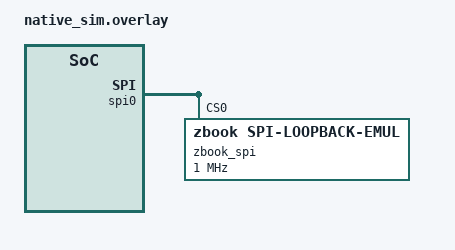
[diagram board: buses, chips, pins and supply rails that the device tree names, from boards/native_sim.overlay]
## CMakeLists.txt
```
cmake_minimum_required(VERSION 3.20.0)
include(${CMAKE_CURRENT_SOURCE_DIR}/../../unit.cmake)
zbook_unit_test(spi)

target_sources(app PRIVATE ${CMAKE_CURRENT_SOURCE_DIR}/src/zbook_spi_loopback_emul.c)
```

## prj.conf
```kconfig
CONFIG_ZTEST=y
CONFIG_ZBOOK_SPI=y
```

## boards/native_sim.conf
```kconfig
CONFIG_EMUL=y
CONFIG_SPI=y
```

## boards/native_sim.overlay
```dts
&spi0 {
	zbook_spi: zbook_spi@0 {
		compatible = "zbook,spi-loopback-emul";
		reg = <0>;
		spi-max-frequency = <1000000>;
	};
};
```

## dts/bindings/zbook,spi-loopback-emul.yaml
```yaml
description: ZBook SPI loopback emulator (unit test only)

compatible: "zbook,spi-loopback-emul"

include: spi-device.yaml
```

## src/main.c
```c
#include <zephyr/ztest.h>
#include <zephyr/drivers/spi.h>
#include <zephyr/sys/util.h>

#include "protocols/zbook_spi.h"
#include "zbook_spi_loopback_emul.h"

ZTEST_SUITE(zbook_spi, NULL, NULL, NULL, NULL, NULL);

ZTEST(zbook_spi, test_00_not_ready_before_init)
{
	uint8_t byte = 0;

	zassert_equal(-ENODEV, zbook_spi_read(&byte, 1));
}

ZTEST(zbook_spi, test_00a_configure_before_init)
{
	struct zbook_spi_cfg cfg = {.frequency = 1000000, .word_size = 8};

	zassert_equal(-ENODEV, zbook_spi_configure(&cfg));
}

ZTEST(zbook_spi, test_01_init_ok)
{
	zassert_ok(zbook_spi_init());
}

ZTEST(zbook_spi, test_configure_invalid_args)
{
	struct zbook_spi_cfg cfg = {.frequency = 1000000, .word_size = 8};

	zassert_equal(-EINVAL, zbook_spi_configure(NULL));

	cfg.word_size = 0;
	zassert_equal(-EINVAL, zbook_spi_configure(&cfg));

	cfg.word_size = 64;
	zassert_equal(-EINVAL, zbook_spi_configure(&cfg));

	cfg.word_size = 8;
	cfg.mode = (enum zbook_spi_mode)99;
	zassert_equal(-EINVAL, zbook_spi_configure(&cfg));
}

ZTEST(zbook_spi, test_configure_covers_all_spi_modes)
{
	static const struct {
		enum zbook_spi_mode mode;
		bool cpol;
		bool cpha;
	} cases[] = {
		{ZBOOK_SPI_MODE_0, false, false},
		{ZBOOK_SPI_MODE_1, false, true},
		{ZBOOK_SPI_MODE_2, true, false},
		{ZBOOK_SPI_MODE_3, true, true},
	};
	uint8_t tx = 0x00;

	for (size_t i = 0; i < ARRAY_SIZE(cases); i++) {
		struct zbook_spi_cfg cfg = {
			.frequency = 1000000,
			.mode = cases[i].mode,
			.bit_order = ZBOOK_SPI_MSB_FIRST,
			.word_size = 8,
		};

		zassert_ok(zbook_spi_configure(&cfg));
		zassert_ok(zbook_spi_write(&tx, 1));

		zassert_equal(cases[i].cpol,
			      (zbook_spi_test_emul_last_operation() & SPI_MODE_CPOL) != 0);
		zassert_equal(cases[i].cpha,
			      (zbook_spi_test_emul_last_operation() & SPI_MODE_CPHA) != 0);
	}
}

ZTEST(zbook_spi, test_configure_msb_first_bit_order)
{
	struct zbook_spi_cfg cfg = {
		.frequency = 1000000,
		.mode = ZBOOK_SPI_MODE_0,
		.bit_order = ZBOOK_SPI_MSB_FIRST,
		.word_size = 8,
	};
	uint8_t tx = 0x00;

	zassert_ok(zbook_spi_configure(&cfg));
	zassert_ok(zbook_spi_write(&tx, 1));

	zassert_false(zbook_spi_test_emul_last_operation() & SPI_TRANSFER_LSB);
}

ZTEST(zbook_spi, test_configure_applies_operation_bits)
{
	struct zbook_spi_cfg cfg = {
		.frequency = 250000,
		.mode = ZBOOK_SPI_MODE_3,
		.bit_order = ZBOOK_SPI_LSB_FIRST,
		.word_size = 8,
	};
	uint8_t tx = 0xAA;

	zassert_ok(zbook_spi_configure(&cfg));
	zassert_ok(zbook_spi_write(&tx, 1));

	zassert_equal(250000, zbook_spi_test_emul_last_frequency());
	zassert_true(zbook_spi_test_emul_last_operation() & SPI_MODE_CPOL);
	zassert_true(zbook_spi_test_emul_last_operation() & SPI_MODE_CPHA);
	zassert_true(zbook_spi_test_emul_last_operation() & SPI_TRANSFER_LSB);
}

ZTEST(zbook_spi, test_write_invalid_args)
{
	uint8_t byte = 0;

	zassert_equal(-EINVAL, zbook_spi_write(NULL, 1));
	zassert_equal(-EINVAL, zbook_spi_write(&byte, 0));
}

ZTEST(zbook_spi, test_write_captures_tx_bytes)
{
	uint8_t tx[3] = {0x01, 0x02, 0x03};
	uint8_t captured[3] = {0};

	zassert_ok(zbook_spi_write(tx, sizeof(tx)));
	zassert_equal(sizeof(tx), zbook_spi_test_emul_last_tx(captured, sizeof(captured)));
	zassert_mem_equal(tx, captured, sizeof(tx));
}

ZTEST(zbook_spi, test_read_invalid_args)
{
	uint8_t byte = 0;

	zassert_equal(-EINVAL, zbook_spi_read(NULL, 1));
	zassert_equal(-EINVAL, zbook_spi_read(&byte, 0));
}

ZTEST(zbook_spi, test_read_returns_canned_pattern)
{
	uint8_t rx[4] = {0};

	zbook_spi_test_emul_set_read_byte(0x5A);
	zassert_ok(zbook_spi_read(rx, sizeof(rx)));
	for (size_t i = 0; i < sizeof(rx); i++) {
		zassert_equal(0x5A, rx[i]);
	}
}

ZTEST(zbook_spi, test_transceive_full_duplex_loopback)
{
	uint8_t tx[4] = {0xDE, 0xAD, 0xBE, 0xEF};
	uint8_t rx[4] = {0};

	zassert_ok(zbook_spi_transceive(tx, rx, sizeof(tx)));
	zassert_mem_equal(tx, rx, sizeof(tx));
}

ZTEST(zbook_spi, test_transceive_invalid_args)
{
	uint8_t byte = 0;

	zassert_equal(-EINVAL, zbook_spi_transceive(NULL, NULL, 1));
	zassert_equal(-EINVAL, zbook_spi_transceive(&byte, NULL, 0));
}
```

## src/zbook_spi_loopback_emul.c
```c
/*
 * SPI loopback emulator backing the "zbook_spi" devicetree node for unit
 * tests: on a full-duplex transfer it echoes tx into rx, on a write-only
 * transfer it just records tx, and on a read-only transfer it stuffs rx with
 * a fixed byte set via zbook_spi_test_emul_set_read_byte(). It also captures
 * the last spi_config (frequency/operation) so a test can verify
 * zbook_spi_configure() actually reached the bus.
 */

#include "zbook_spi_loopback_emul.h"

#include <zephyr/device.h>
#include <zephyr/drivers/emul.h>
#include <zephyr/drivers/spi.h>
#include <zephyr/drivers/spi_emul.h>
#include <zephyr/sys/util.h>

#define ZBOOK_SPI_TEST_NODE DT_NODELABEL(zbook_spi)
#define MAX_CAPTURE_LEN     32

struct zbook_spi_loopback_data {
	struct spi_config last_config;
	uint8_t last_tx[MAX_CAPTURE_LEN];
	size_t last_tx_len;
	uint8_t read_byte;
};

static struct zbook_spi_loopback_data emul_data;

void zbook_spi_test_emul_reset(void)
{
	memset(&emul_data, 0, sizeof(emul_data));
}

uint32_t zbook_spi_test_emul_last_frequency(void)
{
	return emul_data.last_config.frequency;
}

uint32_t zbook_spi_test_emul_last_operation(void)
{
	return emul_data.last_config.operation;
}

size_t zbook_spi_test_emul_last_tx(uint8_t *out, size_t max_len)
{
	size_t len = MIN(emul_data.last_tx_len, max_len);

	memcpy(out, emul_data.last_tx, len);

	return len;
}

void zbook_spi_test_emul_set_read_byte(uint8_t value)
{
	emul_data.read_byte = value;
}

static int zbook_spi_loopback_io(const struct emul *target, const struct spi_config *config,
				 const struct spi_buf_set *tx_bufs,
				 const struct spi_buf_set *rx_bufs)
{
	struct zbook_spi_loopback_data *data = target->data;

	data->last_config = *config;
	data->last_tx_len = 0;

	if (tx_bufs != NULL) {
		for (size_t i = 0; i < tx_bufs->count; i++) {
			const struct spi_buf *buf = &tx_bufs->buffers[i];
			size_t copy_len = MIN(buf->len, MAX_CAPTURE_LEN - data->last_tx_len);

			memcpy(&data->last_tx[data->last_tx_len], buf->buf, copy_len);
			data->last_tx_len += copy_len;
		}
	}

	if (rx_bufs != NULL) {
		size_t rx_off = 0;

		for (size_t i = 0; i < rx_bufs->count; i++) {
			const struct spi_buf *buf = &rx_bufs->buffers[i];

			for (size_t j = 0; j < buf->len; j++) {
				((uint8_t *)buf->buf)[j] = (tx_bufs != NULL)
								   ? data->last_tx[rx_off + j]
								   : data->read_byte;
			}
			rx_off += buf->len;
		}
	}

	return 0;
}

static int zbook_spi_loopback_init(const struct emul *target, const struct device *parent)
{
	ARG_UNUSED(target);
	ARG_UNUSED(parent);

	return 0;
}

/*
 * zbook_spi has no production driver of its own (it's a bare bus endpoint,
 * only ever touched via spi_dt_spec) so there is normally no struct device at
 * this node. EMUL_DT_DEFINE()'s .dev = DEVICE_DT_GET(node_id) dereferences it
 * (spi_emul_register() logs ->name), so this no-op device exists purely to
 * satisfy the emulator framework in this test binary.
 */
static int zbook_spi_loopback_dev_init(const struct device *dev)
{
	ARG_UNUSED(dev);

	return 0;
}

DEVICE_DT_DEFINE(ZBOOK_SPI_TEST_NODE, zbook_spi_loopback_dev_init, NULL, NULL, NULL, POST_KERNEL,
		 CONFIG_KERNEL_INIT_PRIORITY_DEVICE, NULL);

static const struct spi_emul_api zbook_spi_loopback_api = {
	.io = zbook_spi_loopback_io,
};

EMUL_DT_DEFINE(ZBOOK_SPI_TEST_NODE, zbook_spi_loopback_init, &emul_data, NULL,
	       &zbook_spi_loopback_api, NULL);
```

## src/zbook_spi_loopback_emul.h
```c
#ifndef ZBOOK_SPI_LOOPBACK_EMUL_H
#define ZBOOK_SPI_LOOPBACK_EMUL_H

#include <stddef.h>
#include <stdint.h>

/** @brief Reset all captured state (last tx, last config, read byte) to zero. */
void zbook_spi_test_emul_reset(void);

/** @brief Bus frequency the controller was asked to use on the last transfer. */
uint32_t zbook_spi_test_emul_last_frequency(void);

/** @brief Operation flags (mode/bit-order/word-size bits) from the last transfer. */
uint32_t zbook_spi_test_emul_last_operation(void);

/**
 * @brief Copy the bytes captured from the last transfer's tx buffer(s).
 *
 * @param out     Destination buffer.
 * @param max_len Capacity of @p out.
 * @return Number of bytes copied.
 */
size_t zbook_spi_test_emul_last_tx(uint8_t *out, size_t max_len);

/** @brief Byte value the emulator stuffs into rx on a read-only (tx == NULL) transfer. */
void zbook_spi_test_emul_set_read_byte(uint8_t value);

#endif /* ZBOOK_SPI_LOOPBACK_EMUL_H */
```
